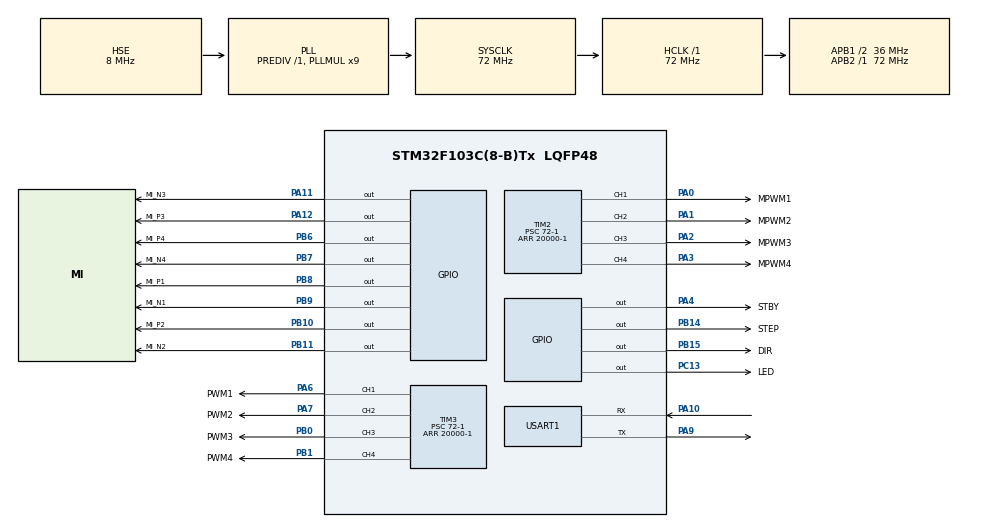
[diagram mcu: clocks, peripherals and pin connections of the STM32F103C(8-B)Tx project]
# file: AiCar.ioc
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FREERTOS.Tasks01=defaultTask,0,128,StartDefaultTask,Default,NULL,Dynamic,NULL,NULL;MotorSpeed,0,128,TaskMotorSpeed,Default,NULL,Dynamic,NULL,NULL
Mcu.Family=STM32F1
Mcu.Name=STM32F103C(8-B)Tx
Mcu.Package=LQFP48
NVIC.PriorityGroup=NVIC_PRIORITYGROUP_4
NVIC.TIM1_UP_IRQn=true\:5\:0\:false\:false\:true\:true\:true
NVIC.TIM4_IRQn=true\:0\:0\:false\:false\:true\:false\:false
NVIC.TimeBase=TIM4_IRQn
NVIC.TimeBaseIP=TIM4
NVIC.USART1_IRQn=true\:5\:0\:false\:false\:true\:true\:true
PA0-WKUP.GPIO_Label=MPWM1
PA0-WKUP.GPIO_Speed=GPIO_SPEED_FREQ_HIGH
PA0-WKUP.Signal=S_TIM2_CH1_ETR
PA1.GPIO_Label=MPWM2
PA1.GPIO_Speed=GPIO_SPEED_FREQ_HIGH
PA1.Signal=S_TIM2_CH2
PA10.Mode=Asynchronous
PA10.Signal=USART1_RX
PA11.GPIO_Label=MI_N3
PA11.Signal=GPIO_Output
PA12.GPIO_Label=MI_P3
PA12.Signal=GPIO_Output
PA13.Mode=Serial_Wire
PA13.Signal=SYS_JTMS-SWDIO
PA14.Mode=Serial_Wire
PA14.Signal=SYS_JTCK-SWCLK
PA2.GPIO_Label=MPWM3
PA2.GPIO_Speed=GPIO_SPEED_FREQ_HIGH
PA2.Signal=S_TIM2_CH3
PA3.GPIO_Label=MPWM4
PA3.GPIO_Speed=GPIO_SPEED_FREQ_HIGH
PA3.Signal=S_TIM2_CH4
PA4.GPIO_Label=STBY
PA4.Signal=GPIO_Output
PA6.GPIO_Label=PWM1
PA6.GPIO_Speed=GPIO_SPEED_FREQ_HIGH
PA6.Signal=S_TIM3_CH1
PA7.GPIO_Label=PWM2
PA7.GPIO_Speed=GPIO_SPEED_FREQ_HIGH
PA7.Signal=S_TIM3_CH2
PA9.Mode=Asynchronous
PA9.Signal=USART1_TX
PB0.GPIO_Label=PWM3
PB0.GPIO_Speed=GPIO_SPEED_FREQ_HIGH
PB0.Signal=S_TIM3_CH3
PB1.GPIO_Label=PWM4
PB1.GPIO_Speed=GPIO_SPEED_FREQ_HIGH
PB1.Signal=S_TIM3_CH4
PB10.GPIO_Label=MI_P2
PB10.Signal=GPIO_Output
PB11.GPIO_Label=MI_N2
PB11.Signal=GPIO_Output
PB14.GPIO_Label=STEP
PB14.Signal=GPIO_Output
PB15.GPIO_Label=DIR
PB15.Signal=GPIO_Output
PB6.GPIO_Label=MI_P4
PB6.Signal=GPIO_Output
PB7.GPIO_Label=MI_N4
PB7.Signal=GPIO_Output
PB8.GPIO_Label=MI_P1
PB8.Signal=GPIO_Output
PB9.GPIO_Label=MI_N1
PB9.Signal=GPIO_Output
PC13-TAMPER-RTC.GPIO_Label=LED
PC13-TAMPER-RTC.GPIO_Speed=GPIO_SPEED_FREQ_HIGH
PC13-TAMPER-RTC.Signal=GPIO_Output
PD0-OSC_IN.Mode=HSE-External-Oscillator
PD0-OSC_IN.Signal=RCC_OSC_IN
PD1-OSC_OUT.Mode=HSE-External-Oscillator
PD1-OSC_OUT.Signal=RCC_OSC_OUT
ProjectManager.HeapSize=0x200
ProjectManager.StackSize=0x400
ProjectManager.TargetToolchain=MDK-ARM V5
RCC.AHBFreq_Value=72000000
RCC.APB1CLKDivider=RCC_HCLK_DIV2
RCC.APB1Freq_Value=36000000
RCC.APB1TimFreq_Value=72000000
RCC.APB2Freq_Value=72000000
RCC.APB2TimFreq_Value=72000000
RCC.HCLKFreq_Value=72000000
RCC.PLLMUL=RCC_PLL_MUL9
RCC.PLLSourceVirtual=RCC_PLLSOURCE_HSE
RCC.SYSCLKFreq_VALUE=72000000
RCC.SYSCLKSource=RCC_SYSCLKSOURCE_PLLCLK
RCC.USBFreq_Value=72000000
SH.S_TIM2_CH1_ETR.0=TIM2_CH1,PWM Generation1 CH1
SH.S_TIM2_CH2.0=TIM2_CH2,PWM Generation2 CH2
SH.S_TIM2_CH3.0=TIM2_CH3,PWM Generation3 CH3
SH.S_TIM2_CH4.0=TIM2_CH4,PWM Generation4 CH4
SH.S_TIM3_CH1.0=TIM3_CH1,PWM Generation1 CH1
SH.S_TIM3_CH2.0=TIM3_CH2,PWM Generation2 CH2
SH.S_TIM3_CH3.0=TIM3_CH3,PWM Generation3 CH3
SH.S_TIM3_CH4.0=TIM3_CH4,PWM Generation4 CH4
TIM1.Period=10000-1
TIM1.Prescaler=72-1
TIM2.Channel-PWM\ Generation1\ CH1=TIM_CHANNEL_1
TIM2.Channel-PWM\ Generation2\ CH2=TIM_CHANNEL_2
TIM2.Channel-PWM\ Generation3\ CH3=TIM_CHANNEL_3
TIM2.Channel-PWM\ Generation4\ CH4=TIM_CHANNEL_4
TIM2.Period=20000-1
TIM2.Prescaler=72-1
TIM2.Pulse-PWM\ Generation1\ CH1=1500
TIM2.Pulse-PWM\ Generation2\ CH2=1500
TIM2.Pulse-PWM\ Generation3\ CH3=1500
TIM2.Pulse-PWM\ Generation4\ CH4=1500
TIM3.Channel-PWM\ Generation1\ CH1=TIM_CHANNEL_1
TIM3.Channel-PWM\ Generation2\ CH2=TIM_CHANNEL_2
TIM3.Channel-PWM\ Generation3\ CH3=TIM_CHANNEL_3
TIM3.Channel-PWM\ Generation4\ CH4=TIM_CHANNEL_4
TIM3.Period=20000-1
TIM3.Prescaler=72-1
TIM3.Pulse-PWM\ Generation1\ CH1=1200
TIM3.Pulse-PWM\ Generation2\ CH2=2200
TIM3.Pulse-PWM\ Generation3\ CH3=550
TIM3.Pulse-PWM\ Generation4\ CH4=600
USART1.VirtualMode=VM_ASYNC
VP_FREERTOS_VS_ENABLE.Mode=Enabled
VP_SYS_VS_tim4.Mode=TIM4
VP_TIM1_VS_ClockSourceINT.Mode=Internal
VP_TIM2_VS_ClockSourceINT.Mode=Internal
VP_TIM3_VS_ClockSourceINT.Mode=Internal
board=custom

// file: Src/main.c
/**
  ******************************************************************************
  * @file           : main.c
  * @brief          : Main program body
  ******************************************************************************
  * This notice applies to any and all portions of this file
  * that are not between comment pairs USER CODE BEGIN and
  * USER CODE END. Other portions of this file, whether
  * inserted by the user or by software development tools
  * are owned by their respective copyright owners.
  *
  * Copyright (c) 2018 STMicroelectronics International N.V.
  * All rights reserved.
  *
  * Redistribution and use in source and binary forms, with or without
  * modification, are permitted, provided that the following conditions are met:
  *
  * 1. Redistribution of source code must retain the above copyright notice,
  *    this list of conditions and the following disclaimer.
  * 2. Redistributions in binary form must reproduce the above copyright notice,
  *    this list of conditions and the following disclaimer in the documentation
  *    and/or other materials provided with the distribution.
  * 3. Neither the name of STMicroelectronics nor the names of other
  *    contributors to this software may be used to endorse or promote products
  *    derived from this software without specific written permission.
  * 4. This software, including modifications and/or derivative works of this
  *    software, must execute solely and exclusively on microcontroller or
  *    microprocessor devices manufactured by or for STMicroelectronics.
  * 5. Redistribution and use of this software other than as permitted under
  *    this license is void and will automatically terminate your rights under
  *    this license.
  *
  * THIS SOFTWARE IS PROVIDED BY STMICROELECTRONICS AND CONTRIBUTORS "AS IS"
  * AND ANY EXPRESS, IMPLIED OR STATUTORY WARRANTIES, INCLUDING, BUT NOT
  * LIMITED TO, THE IMPLIED WARRANTIES OF MERCHANTABILITY, FITNESS FOR A
  * PARTICULAR PURPOSE AND NON-INFRINGEMENT OF THIRD PARTY INTELLECTUAL PROPERTY
  * RIGHTS ARE DISCLAIMED TO THE FULLEST EXTENT PERMITTED BY LAW. IN NO EVENT
  * SHALL STMICROELECTRONICS OR CONTRIBUTORS BE LIABLE FOR ANY DIRECT, INDIRECT,
  * INCIDENTAL, SPECIAL, EXEMPLARY, OR CONSEQUENTIAL DAMAGES (INCLUDING, BUT NOT
  * LIMITED TO, PROCUREMENT OF SUBSTITUTE GOODS OR SERVICES; LOSS OF USE, DATA,
  * OR PROFITS; OR BUSINESS INTERRUPTION) HOWEVER CAUSED AND ON ANY THEORY OF
  * LIABILITY, WHETHER IN CONTRACT, STRICT LIABILITY, OR TORT (INCLUDING
  * NEGLIGENCE OR OTHERWISE) ARISING IN ANY WAY OUT OF THE USE OF THIS SOFTWARE,
  * EVEN IF ADVISED OF THE POSSIBILITY OF SUCH DAMAGE.
  *
  ******************************************************************************
  */
#include "main.h"
#include "stm32f1xx_hal.h"
#include "cmsis_os.h"

TIM_HandleTypeDef htim1;
TIM_HandleTypeDef htim2;
TIM_HandleTypeDef htim3;

UART_HandleTypeDef huart1;

osThreadId defaultTaskHandle;
osThreadId MotorSpeedHandle;

/* USER CODE BEGIN PV */
/* Private variables ---------------------------------------------------------*/

/* USER CODE END PV */

void SystemClock_Config(void);
static void MX_GPIO_Init(void);
static void MX_TIM2_Init(void);
static void MX_TIM3_Init(void);
static void MX_USART1_UART_Init(void);
static void MX_TIM1_Init(void);
void StartDefaultTask(void const * argument);
void TaskMotorSpeed(void const * argument);

void HAL_TIM_MspPostInit(TIM_HandleTypeDef *htim);

/* USER CODE BEGIN PFP */
/* Private function prototypes -----------------------------------------------*/

/* USER CODE END PFP */

int main(void)
{

  /* MCU Configuration----------------------------------------------------------*/

  /* Reset of all peripherals, Initializes the Flash interface and the Systick. */
  HAL_Init();

  /* Configure the system clock */
  SystemClock_Config();

  /* USER CODE BEGIN SysInit */

  AllPer_Init();

  /* USER CODE END SysInit */

  /* Initialize all configured peripherals */
  MX_GPIO_Init();
  MX_TIM2_Init();
  MX_TIM3_Init();
  MX_USART1_UART_Init();
  MX_TIM1_Init();
  /* USER CODE BEGIN 2 */
  //Init
  AllPer_Init();
  MotorCtrlInit();
  MotorPIDInit();

  HAL_TIM_Base_Start(&htim1);
  HAL_TIM_Base_Start(&htim2);
  HAL_TIM_Base_Start(&htim3);

  HAL_TIM_Base_Start_IT(&htim1);

  HAL_TIM_PWM_Start(&htim2, TIM_CHANNEL_1);
  HAL_TIM_PWM_Start(&htim2, TIM_CHANNEL_2);
  HAL_TIM_PWM_Start(&htim2, TIM_CHANNEL_3);
  HAL_TIM_PWM_Start(&htim2, TIM_CHANNEL_4);
  HAL_TIM_PWM_Start(&htim3, TIM_CHANNEL_1);
  HAL_TIM_PWM_Start(&htim3, TIM_CHANNEL_2);
  HAL_TIM_PWM_Start(&htim3, TIM_CHANNEL_3);
  HAL_TIM_PWM_Start(&htim3, TIM_CHANNEL_4);

  /* USER CODE END 2 */

  /* Create the thread(s) */
  /* definition and creation of defaultTask */
  osThreadDef(defaultTask, StartDefaultTask, osPriorityNormal, 0, 128);
  defaultTaskHandle = osThreadCreate(osThread(defaultTask), NULL);

  /* definition and creation of MotorSpeed */
  osThreadDef(MotorSpeed, TaskMotorSpeed, osPriorityNormal, 0, 128);
  MotorSpeedHandle = osThreadCreate(osThread(MotorSpeed), NULL);

  /* Start scheduler */
  osKernelStart();

  /* We should never get here as control is now taken by the scheduler */

  /* Infinite loop */
  while (1)
  {

  }

}

void SystemClock_Config(void)
{

  RCC_OscInitTypeDef RCC_OscInitStruct;
  RCC_ClkInitTypeDef RCC_ClkInitStruct;

    /**Initializes the CPU, AHB and APB busses clocks
    */
  RCC_OscInitStruct.OscillatorType = RCC_OSCILLATORTYPE_HSE;
  RCC_OscInitStruct.HSEState = RCC_HSE_ON;
  RCC_OscInitStruct.HSEPredivValue = RCC_HSE_PREDIV_DIV1;
  RCC_OscInitStruct.HSIState = RCC_HSI_ON;
  RCC_OscInitStruct.PLL.PLLState = RCC_PLL_ON;
  RCC_OscInitStruct.PLL.PLLSource = RCC_PLLSOURCE_HSE;
  RCC_OscInitStruct.PLL.PLLMUL = RCC_PLL_MUL9;
  if (HAL_RCC_OscConfig(&RCC_OscInitStruct) != HAL_OK)
  {
    _Error_Handler(__FILE__, __LINE__);
  }

    /**Initializes the CPU, AHB and APB busses clocks
    */
  RCC_ClkInitStruct.ClockType = RCC_CLOCKTYPE_HCLK|RCC_CLOCKTYPE_SYSCLK
                              |RCC_CLOCKTYPE_PCLK1|RCC_CLOCKTYPE_PCLK2;
  RCC_ClkInitStruct.SYSCLKSource = RCC_SYSCLKSOURCE_PLLCLK;
  RCC_ClkInitStruct.AHBCLKDivider = RCC_SYSCLK_DIV1;
  RCC_ClkInitStruct.APB1CLKDivider = RCC_HCLK_DIV2;
  RCC_ClkInitStruct.APB2CLKDivider = RCC_HCLK_DIV1;

  if (HAL_RCC_ClockConfig(&RCC_ClkInitStruct, FLASH_LATENCY_2) != HAL_OK)
  {
    _Error_Handler(__FILE__, __LINE__);
  }

    /**Configure the Systick interrupt time
    */
  HAL_SYSTICK_Config(HAL_RCC_GetHCLKFreq()/1000);

    /**Configure the Systick
    */
  HAL_SYSTICK_CLKSourceConfig(SYSTICK_CLKSOURCE_HCLK);

  /* SysTick_IRQn interrupt configuration */
  HAL_NVIC_SetPriority(SysTick_IRQn, 15, 0);
}

/* TIM1 init function */
static void MX_TIM1_Init(void)
{

  TIM_ClockConfigTypeDef sClockSourceConfig;
  TIM_MasterConfigTypeDef sMasterConfig;

  htim1.Instance = TIM1;
  htim1.Init.Prescaler = 72-1;
  htim1.Init.CounterMode = TIM_COUNTERMODE_UP;
  htim1.Init.Period = 10000-1;
  htim1.Init.ClockDivision = TIM_CLOCKDIVISION_DIV1;
  htim1.Init.RepetitionCounter = 0;
  htim1.Init.AutoReloadPreload = TIM_AUTORELOAD_PRELOAD_DISABLE;
  if (HAL_TIM_Base_Init(&htim1) != HAL_OK)
  {
    _Error_Handler(__FILE__, __LINE__);
  }

  sClockSourceConfig.ClockSource = TIM_CLOCKSOURCE_INTERNAL;
  if (HAL_TIM_ConfigClockSource(&htim1, &sClockSourceConfig) != HAL_OK)
  {
    _Error_Handler(__FILE__, __LINE__);
  }

  sMasterConfig.MasterOutputTrigger = TIM_TRGO_RESET;
  sMasterConfig.MasterSlaveMode = TIM_MASTERSLAVEMODE_DISABLE;
  if (HAL_TIMEx_MasterConfigSynchronization(&htim1, &sMasterConfig) != HAL_OK)
  {
    _Error_Handler(__FILE__, __LINE__);
  }

}

/* TIM2 init function */
static void MX_TIM2_Init(void)
{

  TIM_ClockConfigTypeDef sClockSourceConfig;
  TIM_MasterConfigTypeDef sMasterConfig;
  TIM_OC_InitTypeDef sConfigOC;

  htim2.Instance = TIM2;
  htim2.Init.Prescaler = 72-1;
  htim2.Init.CounterMode = TIM_COUNTERMODE_UP;
  htim2.Init.Period = 20000-1;
  htim2.Init.ClockDivision = TIM_CLOCKDIVISION_DIV1;
  htim2.Init.AutoReloadPreload = TIM_AUTORELOAD_PRELOAD_DISABLE;
  if (HAL_TIM_Base_Init(&htim2) != HAL_OK)
  {
    _Error_Handler(__FILE__, __LINE__);
  }

  sClockSourceConfig.ClockSource = TIM_CLOCKSOURCE_INTERNAL;
  if (HAL_TIM_ConfigClockSource(&htim2, &sClockSourceConfig) != HAL_OK)
  {
    _Error_Handler(__FILE__, __LINE__);
  }

  if (HAL_TIM_PWM_Init(&htim2) != HAL_OK)
  {
    _Error_Handler(__FILE__, __LINE__);
  }

  sMasterConfig.MasterOutputTrigger = TIM_TRGO_RESET;
  sMasterConfig.MasterSlaveMode = TIM_MASTERSLAVEMODE_DISABLE;
  if (HAL_TIMEx_MasterConfigSynchronization(&htim2, &sMasterConfig) != HAL_OK)
  {
    _Error_Handler(__FILE__, __LINE__);
  }

  sConfigOC.OCMode = TIM_OCMODE_PWM1;
  sConfigOC.Pulse = 1500;
  sConfigOC.OCPolarity = TIM_OCPOLARITY_HIGH;
  sConfigOC.OCFastMode = TIM_OCFAST_DISABLE;
  if (HAL_TIM_PWM_ConfigChannel(&htim2, &sConfigOC, TIM_CHANNEL_1) != HAL_OK)
  {
    _Error_Handler(__FILE__, __LINE__);
  }

  if (HAL_TIM_PWM_ConfigChannel(&htim2, &sConfigOC, TIM_CHANNEL_2) != HAL_OK)
  {
    _Error_Handler(__FILE__, __LINE__);
  }

  if (HAL_TIM_PWM_ConfigChannel(&htim2, &sConfigOC, TIM_CHANNEL_3) != HAL_OK)
  {
    _Error_Handler(__FILE__, __LINE__);
  }

  if (HAL_TIM_PWM_ConfigChannel(&htim2, &sConfigOC, TIM_CHANNEL_4) != HAL_OK)
  {
    _Error_Handler(__FILE__, __LINE__);
  }

  HAL_TIM_MspPostInit(&htim2);

}

/* TIM3 init function */
static void MX_TIM3_Init(void)
{

  TIM_ClockConfigTypeDef sClockSourceConfig;
  TIM_MasterConfigTypeDef sMasterConfig;
  TIM_OC_InitTypeDef sConfigOC;

  htim3.Instance = TIM3;
  htim3.Init.Prescaler = 72-1;
  htim3.Init.CounterMode = TIM_COUNTERMODE_UP;
  htim3.Init.Period = 20000-1;
  htim3.Init.ClockDivision = TIM_CLOCKDIVISION_DIV1;
  htim3.Init.AutoReloadPreload = TIM_AUTORELOAD_PRELOAD_DISABLE;
  if (HAL_TIM_Base_Init(&htim3) != HAL_OK)
  {
    _Error_Handler(__FILE__, __LINE__);
  }

  sClockSourceConfig.ClockSource = TIM_CLOCKSOURCE_INTERNAL;
  if (HAL_TIM_ConfigClockSource(&htim3, &sClockSourceConfig) != HAL_OK)
  {
    _Error_Handler(__FILE__, __LINE__);
  }

  if (HAL_TIM_PWM_Init(&htim3) != HAL_OK)
  {
    _Error_Handler(__FILE__, __LINE__);
  }

  sMasterConfig.MasterOutputTrigger = TIM_TRGO_RESET;
  sMasterConfig.MasterSlaveMode = TIM_MASTERSLAVEMODE_DISABLE;
  if (HAL_TIMEx_MasterConfigSynchronization(&htim3, &sMasterConfig) != HAL_OK)
  {
    _Error_Handler(__FILE__, __LINE__);
  }

  sConfigOC.OCMode = TIM_OCMODE_PWM1;
  sConfigOC.Pulse = 1200;
  sConfigOC.OCPolarity = TIM_OCPOLARITY_HIGH;
  sConfigOC.OCFastMode = TIM_OCFAST_DISABLE;
  if (HAL_TIM_PWM_ConfigChannel(&htim3, &sConfigOC, TIM_CHANNEL_1) != HAL_OK)
  {
    _Error_Handler(__FILE__, __LINE__);
  }

  sConfigOC.Pulse = 2200;
  if (HAL_TIM_PWM_ConfigChannel(&htim3, &sConfigOC, TIM_CHANNEL_2) != HAL_OK)
  {
    _Error_Handler(__FILE__, __LINE__);
  }

  sConfigOC.Pulse = 550;
  if (HAL_TIM_PWM_ConfigChannel(&htim3, &sConfigOC, TIM_CHANNEL_3) != HAL_OK)
  {
    _Error_Handler(__FILE__, __LINE__);
  }

  sConfigOC.Pulse = 600;
  if (HAL_TIM_PWM_ConfigChannel(&htim3, &sConfigOC, TIM_CHANNEL_4) != HAL_OK)
  {
    _Error_Handler(__FILE__, __LINE__);
  }

  HAL_TIM_MspPostInit(&htim3);

}

/* USART1 init function */
static void MX_USART1_UART_Init(void)
{

  huart1.Instance = USART1;
  huart1.Init.BaudRate = 115200;
  huart1.Init.WordLength = UART_WORDLENGTH_8B;
  huart1.Init.StopBits = UART_STOPBITS_1;
  huart1.Init.Parity = UART_PARITY_NONE;
  huart1.Init.Mode = UART_MODE_TX_RX;
  huart1.Init.HwFlowCtl = UART_HWCONTROL_NONE;
  huart1.Init.OverSampling = UART_OVERSAMPLING_16;
  if (HAL_UART_Init(&huart1) != HAL_OK)
  {
    _Error_Handler(__FILE__, __LINE__);
  }

}

/** Configure pins as
        * Analog
        * Input
        * Output
        * EVENT_OUT
        * EXTI
*/
static void MX_GPIO_Init(void)
{

  GPIO_InitTypeDef GPIO_InitStruct;

  /* GPIO Ports Clock Enable */
  __HAL_RCC_GPIOC_CLK_ENABLE();
  __HAL_RCC_GPIOD_CLK_ENABLE();
  __HAL_RCC_GPIOA_CLK_ENABLE();
  __HAL_RCC_GPIOB_CLK_ENABLE();

  /*Configure GPIO pin Output Level */
  HAL_GPIO_WritePin(LED_GPIO_Port, LED_Pin, GPIO_PIN_RESET);

  /*Configure GPIO pin Output Level */
  HAL_GPIO_WritePin(GPIOA, STBY_Pin|MI_N3_Pin|MI_P3_Pin, GPIO_PIN_RESET);

  /*Configure GPIO pin Output Level */
  HAL_GPIO_WritePin(GPIOB, MI_P2_Pin|MI_N2_Pin|STEP_Pin|DIR_Pin
                          |MI_P4_Pin|MI_N4_Pin|MI_P1_Pin|MI_N1_Pin, GPIO_PIN_RESET);

  /*Configure GPIO pin : LED_Pin */
  GPIO_InitStruct.Pin = LED_Pin;
  GPIO_InitStruct.Mode = GPIO_MODE_OUTPUT_PP;
  GPIO_InitStruct.Pull = GPIO_NOPULL;
  GPIO_InitStruct.Speed = GPIO_SPEED_FREQ_HIGH;
  HAL_GPIO_Init(LED_GPIO_Port, &GPIO_InitStruct);

  /*Configure GPIO pins : STBY_Pin MI_N3_Pin MI_P3_Pin */
  GPIO_InitStruct.Pin = STBY_Pin|MI_N3_Pin|MI_P3_Pin;
  GPIO_InitStruct.Mode = GPIO_MODE_OUTPUT_PP;
  GPIO_InitStruct.Pull = GPIO_NOPULL;
  GPIO_InitStruct.Speed = GPIO_SPEED_FREQ_LOW;
  HAL_GPIO_Init(GPIOA, &GPIO_InitStruct);

  /*Configure GPIO pins : MI_P2_Pin MI_N2_Pin STEP_Pin DIR_Pin
                           MI_P4_Pin MI_N4_Pin MI_P1_Pin MI_N1_Pin */
  GPIO_InitStruct.Pin = MI_P2_Pin|MI_N2_Pin|STEP_Pin|DIR_Pin
                          |MI_P4_Pin|MI_N4_Pin|MI_P1_Pin|MI_N1_Pin;
  GPIO_InitStruct.Mode = GPIO_MODE_OUTPUT_PP;
  GPIO_InitStruct.Pull = GPIO_NOPULL;
  GPIO_InitStruct.Speed = GPIO_SPEED_FREQ_LOW;
  HAL_GPIO_Init(GPIOB, &GPIO_InitStruct);

}

/* StartDefaultTask function */
void StartDefaultTask(void const * argument)
{

  /* USER CODE BEGIN 5 */
  /* Infinite loop */
  for (;;)
  {
    LED_GPIO_Port->BSRR = LED_Pin;
    osDelay(500);
    LED_GPIO_Port->BSRR = LED_Pin << 16;
    osDelay(500);
    // MotorChangeSpeed();
    // ServoChangePWM();
  }
  /* USER CODE END 5 */
}

/* TaskMotorSpeed function */
void TaskMotorSpeed(void const * argument)
{
  /* USER CODE BEGIN TaskMotorSpeed */
  /* Infinite loop */
  for (;;)
  {
    ReceiveDatas();
    // while (t)
    // {
    //   STEP_GPIO_Port->BSRR = STEP_Pin;
    //   osDelay(2);
    //   STEP_GPIO_Port->BSRR = (uint32_t)STEP_Pin << 16;
    //   osDelay(2);
    //   t--;
    // }
  }
  /* USER CODE END TaskMotorSpeed */
}

void HAL_TIM_PeriodElapsedCallback(TIM_HandleTypeDef *htim)
{
  /* USER CODE BEGIN Callback 0 */
  if (htim->Instance == TIM1)
  {
    /* Motor and PID */
    MotorCtrlLoop();
    ServoChangePWM();
  }
  /* USER CODE END Callback 0 */
  if (htim->Instance == TIM4) {
    HAL_IncTick();
  }
}

void _Error_Handler(char *file, int line)
{
  while (1)
  {
  }
}

/************************ (C) COPYRIGHT STMicroelectronics *****END OF FILE****/
